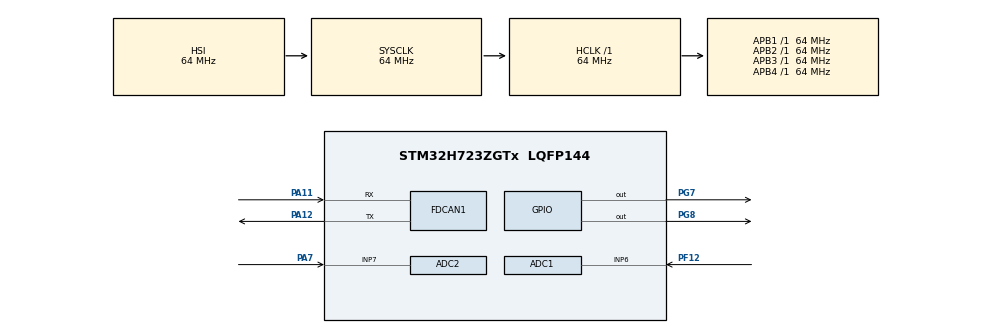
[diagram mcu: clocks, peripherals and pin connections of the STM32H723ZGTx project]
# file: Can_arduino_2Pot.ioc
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ADC1.Channel-0\#ChannelRegularConversion=ADC_CHANNEL_6
ADC1.ClockPrescaler=ADC_CLOCK_ASYNC_DIV4
ADC1.ContinuousConvMode=ENABLE
ADC1.NbrOfConversionFlag=1
ADC1.OffsetNumber-0\#ChannelRegularConversion=ADC_OFFSET_NONE
ADC1.OffsetSignedSaturation-0\#ChannelRegularConversion=DISABLE
ADC1.Overrun=ADC_OVR_DATA_OVERWRITTEN
ADC1.Rank-0\#ChannelRegularConversion=1
ADC1.Resolution=ADC_RESOLUTION_8B
ADC1.SamplingTime-0\#ChannelRegularConversion=ADC_SAMPLETIME_1CYCLE_5
ADC1.master=1
ADC2.Channel-0\#ChannelRegularConversion=ADC_CHANNEL_7
ADC2.ClockPrescaler=ADC_CLOCK_ASYNC_DIV4
ADC2.ContinuousConvMode=ENABLE
ADC2.NbrOfConversionFlag=1
ADC2.OffsetNumber-0\#ChannelRegularConversion=ADC_OFFSET_NONE
ADC2.OffsetSignedSaturation-0\#ChannelRegularConversion=DISABLE
ADC2.Overrun=ADC_OVR_DATA_OVERWRITTEN
ADC2.Rank-0\#ChannelRegularConversion=1
ADC2.Resolution=ADC_RESOLUTION_8B
ADC2.SamplingTime-0\#ChannelRegularConversion=ADC_SAMPLETIME_1CYCLE_5
FDCAN1.AutoRetransmission=ENABLE
FDCAN1.CalculateBaudRateNominal=250000
FDCAN1.CalculateTimeBitNominal=4000
FDCAN1.CalculateTimeQuantumNominal=125.0
FDCAN1.DataSyncJumpWidth=7
FDCAN1.DataTimeSeg1=8
FDCAN1.DataTimeSeg2=7
FDCAN1.NominalPrescaler=1
FDCAN1.NominalSyncJumpWidth=5
FDCAN1.NominalTimeSeg1=26
FDCAN1.NominalTimeSeg2=5
FDCAN1.RxFifo0ElmtsNbr=1
FDCAN1.TxBuffersNbr=1
FDCAN1.TxFifoQueueElmtsNbr=1
FDCAN1.TxFifoQueueMode=FDCAN_TX_QUEUE_OPERATION
Mcu.Family=STM32H7
Mcu.Name=STM32H723ZGTx
Mcu.Package=LQFP144
NVIC.PriorityGroup=NVIC_PRIORITYGROUP_4
PA11.Mode=FDCAN_Activate
PA11.Signal=FDCAN1_RX
PA12.Mode=FDCAN_Activate
PA12.Signal=FDCAN1_TX
PA13(JTMS/SWDIO).Mode=Serial_Wire
PA13(JTMS/SWDIO).Signal=DEBUG_JTMS-SWDIO
PA14(JTCK/SWCLK).Mode=Serial_Wire
PA14(JTCK/SWCLK).Signal=DEBUG_JTCK-SWCLK
PA7.Signal=ADCx_INP7
PC14-OSC32_IN.Mode=LSE-External-Oscillator
PC14-OSC32_IN.Signal=RCC_OSC32_IN
PC15-OSC32_OUT.Mode=LSE-External-Oscillator
PC15-OSC32_OUT.Signal=RCC_OSC32_OUT
PF12.Mode=IN6-Single-Ended
PF12.Signal=ADC1_INP6
PG7.Signal=GPIO_Output
PG8.Signal=GPIO_Output
PH0-OSC_IN.Mode=HSE-External-Oscillator
PH0-OSC_IN.Signal=RCC_OSC_IN
PH1-OSC_OUT.Mode=HSE-External-Oscillator
PH1-OSC_OUT.Signal=RCC_OSC_OUT
ProjectManager.HeapSize=0x200
ProjectManager.StackSize=0x400
ProjectManager.TargetToolchain=STM32CubeIDE
RCC.ADCFreq_Value=38400000
RCC.APB1Freq_Value=64000000
RCC.APB2Freq_Value=64000000
RCC.APB3Freq_Value=64000000
RCC.APB4Freq_Value=64000000
RCC.CortexFreq_Value=64000000
RCC.DIVM1=4
RCC.DIVM2=4
RCC.DIVN1=12
RCC.DIVN2=12
RCC.DIVP2=5
RCC.DIVQ1=24
RCC.HCLKFreq_Value=64000000
RCC.PLL2FRACN=0
RCC.PLLFRACN=0
RCC.SYSCLKFreq_VALUE=64000000
RCC.USBFreq_Value=8000000
SH.ADCx_INP7.0=ADC2_INP7,IN7-Single-Ended
board=custom

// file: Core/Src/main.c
/* USER CODE BEGIN Header */
/**
  ******************************************************************************
  * @file           : main.c
  * @brief          : Main program body
  ******************************************************************************
  * @attention
  *
  * Copyright (c) 2024 STMicroelectronics.
  * All rights reserved.
  *
  * This software is licensed under terms that can be found in the LICENSE file
  * in the root directory of this software component.
  * If no LICENSE file comes with this software, it is provided AS-IS.
  *
  ******************************************************************************
  */
/* USER CODE END Header */
#include "main.h"

ADC_HandleTypeDef hadc1;
ADC_HandleTypeDef hadc2;

FDCAN_HandleTypeDef hfdcan1;

/* USER CODE BEGIN PV */
FDCAN_HandleTypeDef hfdcan1;

FDCAN_TxHeaderTypeDef TxHeader;//renomeando a struct do Tx de TxHeader
FDCAN_RxHeaderTypeDef RxHeader;//renomeando a struct do Rx de RxHeader
uint8_t TxData[8]; //foi declarado do começo que estamos testando com 8 bytes
uint8_t RxData[8]; //por isso os dados tem que ter 8 de tamanho de array
/* USER CODE END PV */

void SystemClock_Config(void);
void PeriphCommonClock_Config(void);
static void MX_GPIO_Init(void);
static void MX_ADC1_Init(void);
static void MX_ADC2_Init(void);
static void MX_FDCAN1_Init(void);

int main(void)
{

  /* MCU Configuration--------------------------------------------------------*/

  /* Reset of all peripherals, Initializes the Flash interface and the Systick. */
  HAL_Init();

  /* Configure the system clock */
  SystemClock_Config();

/* Configure the peripherals common clocks */
  PeriphCommonClock_Config();

  /* Initialize all configured peripherals */
  MX_GPIO_Init();
  MX_ADC1_Init();
  MX_ADC2_Init();
  MX_FDCAN1_Init();
  /* USER CODE BEGIN 2 */
  uint8_t valorPotLin;
  uint8_t valorPotLog;
  uint8_t dif;

        if(HAL_FDCAN_Start(&hfdcan1) != HAL_OK){

      	  Error_Handler();
        }

        if(HAL_FDCAN_ActivateNotification(&hfdcan1, FDCAN_IT_RX_FIFO0_NEW_MESSAGE, 0)!= HAL_OK){
      	  Error_Handler();

        }

        // Configurando os parâmetros da mensagem
          TxHeader.Identifier = 0x07; // Identificador da mensagem
          TxHeader.IdType = FDCAN_STANDARD_ID; // Tipo de identificador: Padrão
          TxHeader.TxFrameType = FDCAN_DATA_FRAME; // Tipo de quadro: Quadro de dados
          TxHeader.DataLength = FDCAN_DLC_BYTES_8; // Comprimento dos dados: 8 bytes
          TxHeader.ErrorStateIndicator = FDCAN_ESI_ACTIVE; // Indicador de estado de erro ativo
          TxHeader.BitRateSwitch = FDCAN_BRS_OFF; // Troca de taxa de bits desativada
          TxHeader.FDFormat = FDCAN_CLASSIC_CAN; // Formato CAN clasica
          TxHeader.TxEventFifoControl = FDCAN_STORE_TX_EVENTS; // Sem controle de FIFO de evento de transmissão
          TxHeader.MessageMarker = 0; // Marcador de mensagem

  /* USER CODE END 2 */

  /* Infinite loop */
  while (1){

    /* USER CODE BEGIN 3 */
	  HAL_ADC_Start(&hadc1);
	  HAL_ADC_Start(&hadc2);
	  HAL_ADC_PollForConversion(&hadc1, 1000);
	  HAL_ADC_PollForConversion(&hadc2, 1000);
	  valorPotLog = HAL_ADC_GetValue(&hadc2);
	  valorPotLin = HAL_ADC_GetValue(&hadc1);
	  if(valorPotLin > valorPotLog){
		  dif = valorPotLin - valorPotLog;
	  }else{
		  dif = valorPotLog - valorPotLin;
	  }
	  TxData[0] = valorPotLog;
	  TxData[1] = valorPotLin;
	  TxData[2] = dif;
	  if(valorPotLin > 1.1 *(valorPotLog) || valorPotLin < (0.9 * valorPotLog)){
		  HAL_GPIO_WritePin(GPIOG, GPIO_PIN_8, GPIO_PIN_SET);
	  }else if(valorPotLog > 1.1 *(valorPotLin) || valorPotLog < (0.9 * valorPotLin)){
		  HAL_GPIO_WritePin(GPIOG, GPIO_PIN_8, GPIO_PIN_SET);
	  }else{
		  HAL_GPIO_WritePin(GPIOG, GPIO_PIN_8, GPIO_PIN_RESET);
	  }
	  HAL_FDCAN_AddMessageToTxFifoQ(&hfdcan1, &TxHeader, TxData);

  }
  /* USER CODE END 3 */
}
void SystemClock_Config(void)
{
  RCC_OscInitTypeDef RCC_OscInitStruct = {0};
  RCC_ClkInitTypeDef RCC_ClkInitStruct = {0};

  /** Supply configuration update enable
  */
  HAL_PWREx_ConfigSupply(PWR_LDO_SUPPLY);

  /** Configure the main internal regulator output voltage
  */
  __HAL_PWR_VOLTAGESCALING_CONFIG(PWR_REGULATOR_VOLTAGE_SCALE3);

  while(!__HAL_PWR_GET_FLAG(PWR_FLAG_VOSRDY)) {}

  /** Initializes the RCC Oscillators according to the specified parameters
  * in the RCC_OscInitTypeDef structure.
  */
  RCC_OscInitStruct.OscillatorType = RCC_OSCILLATORTYPE_HSI;
  RCC_OscInitStruct.HSIState = RCC_HSI_DIV1;
  RCC_OscInitStruct.HSICalibrationValue = 64;
  RCC_OscInitStruct.PLL.PLLState = RCC_PLL_ON;
  RCC_OscInitStruct.PLL.PLLSource = RCC_PLLSOURCE_HSI;
  RCC_OscInitStruct.PLL.PLLM = 4;
  RCC_OscInitStruct.PLL.PLLN = 12;
  RCC_OscInitStruct.PLL.PLLP = 2;
  RCC_OscInitStruct.PLL.PLLQ = 24;
  RCC_OscInitStruct.PLL.PLLR = 2;
  RCC_OscInitStruct.PLL.PLLRGE = RCC_PLL1VCIRANGE_3;
  RCC_OscInitStruct.PLL.PLLVCOSEL = RCC_PLL1VCOWIDE;
  RCC_OscInitStruct.PLL.PLLFRACN = 0;
  if (HAL_RCC_OscConfig(&RCC_OscInitStruct) != HAL_OK)
  {
    Error_Handler();
  }

  /** Initializes the CPU, AHB and APB buses clocks
  */
  RCC_ClkInitStruct.ClockType = RCC_CLOCKTYPE_HCLK|RCC_CLOCKTYPE_SYSCLK
                              |RCC_CLOCKTYPE_PCLK1|RCC_CLOCKTYPE_PCLK2
                              |RCC_CLOCKTYPE_D3PCLK1|RCC_CLOCKTYPE_D1PCLK1;
  RCC_ClkInitStruct.SYSCLKSource = RCC_SYSCLKSOURCE_HSI;
  RCC_ClkInitStruct.SYSCLKDivider = RCC_SYSCLK_DIV1;
  RCC_ClkInitStruct.AHBCLKDivider = RCC_HCLK_DIV1;
  RCC_ClkInitStruct.APB3CLKDivider = RCC_APB3_DIV1;
  RCC_ClkInitStruct.APB1CLKDivider = RCC_APB1_DIV1;
  RCC_ClkInitStruct.APB2CLKDivider = RCC_APB2_DIV1;
  RCC_ClkInitStruct.APB4CLKDivider = RCC_APB4_DIV1;

  if (HAL_RCC_ClockConfig(&RCC_ClkInitStruct, FLASH_LATENCY_1) != HAL_OK)
  {
    Error_Handler();
  }
}

void PeriphCommonClock_Config(void)
{
  RCC_PeriphCLKInitTypeDef PeriphClkInitStruct = {0};

  /** Initializes the peripherals clock
  */
  PeriphClkInitStruct.PeriphClockSelection = RCC_PERIPHCLK_ADC;
  PeriphClkInitStruct.PLL2.PLL2M = 4;
  PeriphClkInitStruct.PLL2.PLL2N = 12;
  PeriphClkInitStruct.PLL2.PLL2P = 5;
  PeriphClkInitStruct.PLL2.PLL2Q = 2;
  PeriphClkInitStruct.PLL2.PLL2R = 2;
  PeriphClkInitStruct.PLL2.PLL2RGE = RCC_PLL2VCIRANGE_3;
  PeriphClkInitStruct.PLL2.PLL2VCOSEL = RCC_PLL2VCOWIDE;
  PeriphClkInitStruct.PLL2.PLL2FRACN = 0;
  PeriphClkInitStruct.AdcClockSelection = RCC_ADCCLKSOURCE_PLL2;
  if (HAL_RCCEx_PeriphCLKConfig(&PeriphClkInitStruct) != HAL_OK)
  {
    Error_Handler();
  }
}

static void MX_ADC1_Init(void)
{

  ADC_MultiModeTypeDef multimode = {0};
  ADC_ChannelConfTypeDef sConfig = {0};

  /** Common config
  */
  hadc1.Instance = ADC1;
  hadc1.Init.ClockPrescaler = ADC_CLOCK_ASYNC_DIV4;
  hadc1.Init.Resolution = ADC_RESOLUTION_8B;
  hadc1.Init.ScanConvMode = ADC_SCAN_DISABLE;
  hadc1.Init.EOCSelection = ADC_EOC_SINGLE_CONV;
  hadc1.Init.LowPowerAutoWait = DISABLE;
  hadc1.Init.ContinuousConvMode = ENABLE;
  hadc1.Init.NbrOfConversion = 1;
  hadc1.Init.DiscontinuousConvMode = DISABLE;
  hadc1.Init.ExternalTrigConv = ADC_SOFTWARE_START;
  hadc1.Init.ExternalTrigConvEdge = ADC_EXTERNALTRIGCONVEDGE_NONE;
  hadc1.Init.ConversionDataManagement = ADC_CONVERSIONDATA_DR;
  hadc1.Init.Overrun = ADC_OVR_DATA_OVERWRITTEN;
  hadc1.Init.LeftBitShift = ADC_LEFTBITSHIFT_NONE;
  hadc1.Init.OversamplingMode = DISABLE;
  if (HAL_ADC_Init(&hadc1) != HAL_OK)
  {
    Error_Handler();
  }

  /** Configure the ADC multi-mode
  */
  multimode.Mode = ADC_MODE_INDEPENDENT;
  if (HAL_ADCEx_MultiModeConfigChannel(&hadc1, &multimode) != HAL_OK)
  {
    Error_Handler();
  }

  /** Configure Regular Channel
  */
  sConfig.Channel = ADC_CHANNEL_6;
  sConfig.Rank = ADC_REGULAR_RANK_1;
  sConfig.SamplingTime = ADC_SAMPLETIME_1CYCLE_5;
  sConfig.SingleDiff = ADC_SINGLE_ENDED;
  sConfig.OffsetNumber = ADC_OFFSET_NONE;
  sConfig.Offset = 0;
  sConfig.OffsetSignedSaturation = DISABLE;
  if (HAL_ADC_ConfigChannel(&hadc1, &sConfig) != HAL_OK)
  {
    Error_Handler();
  }

}

static void MX_ADC2_Init(void)
{

  ADC_ChannelConfTypeDef sConfig = {0};

  /** Common config
  */
  hadc2.Instance = ADC2;
  hadc2.Init.ClockPrescaler = ADC_CLOCK_ASYNC_DIV4;
  hadc2.Init.Resolution = ADC_RESOLUTION_8B;
  hadc2.Init.ScanConvMode = ADC_SCAN_DISABLE;
  hadc2.Init.EOCSelection = ADC_EOC_SINGLE_CONV;
  hadc2.Init.LowPowerAutoWait = DISABLE;
  hadc2.Init.ContinuousConvMode = ENABLE;
  hadc2.Init.NbrOfConversion = 1;
  hadc2.Init.DiscontinuousConvMode = DISABLE;
  hadc2.Init.ExternalTrigConv = ADC_SOFTWARE_START;
  hadc2.Init.ExternalTrigConvEdge = ADC_EXTERNALTRIGCONVEDGE_NONE;
  hadc2.Init.ConversionDataManagement = ADC_CONVERSIONDATA_DR;
  hadc2.Init.Overrun = ADC_OVR_DATA_OVERWRITTEN;
  hadc2.Init.LeftBitShift = ADC_LEFTBITSHIFT_NONE;
  hadc2.Init.OversamplingMode = DISABLE;
  if (HAL_ADC_Init(&hadc2) != HAL_OK)
  {
    Error_Handler();
  }

  /** Configure Regular Channel
  */
  sConfig.Channel = ADC_CHANNEL_7;
  sConfig.Rank = ADC_REGULAR_RANK_1;
  sConfig.SamplingTime = ADC_SAMPLETIME_1CYCLE_5;
  sConfig.SingleDiff = ADC_SINGLE_ENDED;
  sConfig.OffsetNumber = ADC_OFFSET_NONE;
  sConfig.Offset = 0;
  sConfig.OffsetSignedSaturation = DISABLE;
  if (HAL_ADC_ConfigChannel(&hadc2, &sConfig) != HAL_OK)
  {
    Error_Handler();
  }

}

static void MX_FDCAN1_Init(void)
{

  hfdcan1.Instance = FDCAN1;
  hfdcan1.Init.FrameFormat = FDCAN_FRAME_CLASSIC;
  hfdcan1.Init.Mode = FDCAN_MODE_NORMAL;
  hfdcan1.Init.AutoRetransmission = ENABLE;
  hfdcan1.Init.TransmitPause = DISABLE;
  hfdcan1.Init.ProtocolException = DISABLE;
  hfdcan1.Init.NominalPrescaler = 1;
  hfdcan1.Init.NominalSyncJumpWidth = 5;
  hfdcan1.Init.NominalTimeSeg1 = 26;
  hfdcan1.Init.NominalTimeSeg2 = 5;
  hfdcan1.Init.DataPrescaler = 1;
  hfdcan1.Init.DataSyncJumpWidth = 7;
  hfdcan1.Init.DataTimeSeg1 = 8;
  hfdcan1.Init.DataTimeSeg2 = 7;
  hfdcan1.Init.MessageRAMOffset = 0;
  hfdcan1.Init.StdFiltersNbr = 0;
  hfdcan1.Init.ExtFiltersNbr = 0;
  hfdcan1.Init.RxFifo0ElmtsNbr = 1;
  hfdcan1.Init.RxFifo0ElmtSize = FDCAN_DATA_BYTES_8;
  hfdcan1.Init.RxFifo1ElmtsNbr = 0;
  hfdcan1.Init.RxFifo1ElmtSize = FDCAN_DATA_BYTES_8;
  hfdcan1.Init.RxBuffersNbr = 0;
  hfdcan1.Init.RxBufferSize = FDCAN_DATA_BYTES_8;
  hfdcan1.Init.TxEventsNbr = 0;
  hfdcan1.Init.TxBuffersNbr = 1;
  hfdcan1.Init.TxFifoQueueElmtsNbr = 1;
  hfdcan1.Init.TxFifoQueueMode = FDCAN_TX_QUEUE_OPERATION;
  hfdcan1.Init.TxElmtSize = FDCAN_DATA_BYTES_8;
  if (HAL_FDCAN_Init(&hfdcan1) != HAL_OK)
  {
    Error_Handler();
  }
  /* USER CODE BEGIN FDCAN1_Init 2 */
  FDCAN_FilterTypeDef sFilterConfig;

      sFilterConfig.IdType = FDCAN_STANDARD_ID; //Dados são tipos Standard
      sFilterConfig .FilterIndex = 0;    // �?ndice do filtro (0 a 127 para IdType padrão)
      sFilterConfig.FilterType = FDCAN_FILTER_MASK;   // Tipo de filtro: Máscara
      sFilterConfig.FilterConfig = FDCAN_FILTER_TO_RXFIFO0;  // Configuração do filtro para receber mensagens no FIFO0
      sFilterConfig.FilterID1 = 0x14;  // Identificador 1 do filtro (0 a 0x7FF para IdType padrão)
      sFilterConfig.FilterID2 = 0x14; // Identificador 2 do filtro (Ignorado para mensagens padrão)
      sFilterConfig.RxBufferIndex = 0;  // �?ndice do buffer de recepção (0 a 63)
      sFilterConfig.IsCalibrationMsg = 0;// Não é uma mensagem de calibração se for 1 é uma msg de calibração

      if (HAL_FDCAN_ConfigFilter(&hfdcan1, &sFilterConfig) != HAL_OK){
    	  Error_Handler();
      }
  /* USER CODE END FDCAN1_Init 2 */

}

static void MX_GPIO_Init(void)
{
  GPIO_InitTypeDef GPIO_InitStruct = {0};

  /* GPIO Ports Clock Enable */
  __HAL_RCC_GPIOC_CLK_ENABLE();
  __HAL_RCC_GPIOH_CLK_ENABLE();
  __HAL_RCC_GPIOA_CLK_ENABLE();
  __HAL_RCC_GPIOF_CLK_ENABLE();
  __HAL_RCC_GPIOG_CLK_ENABLE();

  /*Configure GPIO pin Output Level */
  HAL_GPIO_WritePin(GPIOG, GPIO_PIN_8, GPIO_PIN_RESET);
  HAL_GPIO_WritePin(GPIOG, GPIO_PIN_7, GPIO_PIN_SET);
  /*Configure GPIO pins : PG7 PG8 */
  GPIO_InitStruct.Pin = GPIO_PIN_7|GPIO_PIN_8;
  GPIO_InitStruct.Mode = GPIO_MODE_OUTPUT_PP;
  GPIO_InitStruct.Pull = GPIO_NOPULL;
  GPIO_InitStruct.Speed = GPIO_SPEED_FREQ_LOW;
  HAL_GPIO_Init(GPIOG, &GPIO_InitStruct);

}

void Error_Handler(void)
{
  /* USER CODE BEGIN Error_Handler_Debug */
  /* User can add his own implementation to report the HAL error return state */
  __disable_irq();
  while (1)
  {
	  HAL_GPIO_WritePin(GPIOG, GPIO_PIN_7, GPIO_PIN_RESET);
	  HAL_Delay(500);
	  HAL_GPIO_WritePin(GPIOG, GPIO_PIN_7, GPIO_PIN_SET);
	  HAL_Delay(500);
  }
  /* USER CODE END Error_Handler_Debug */
}
